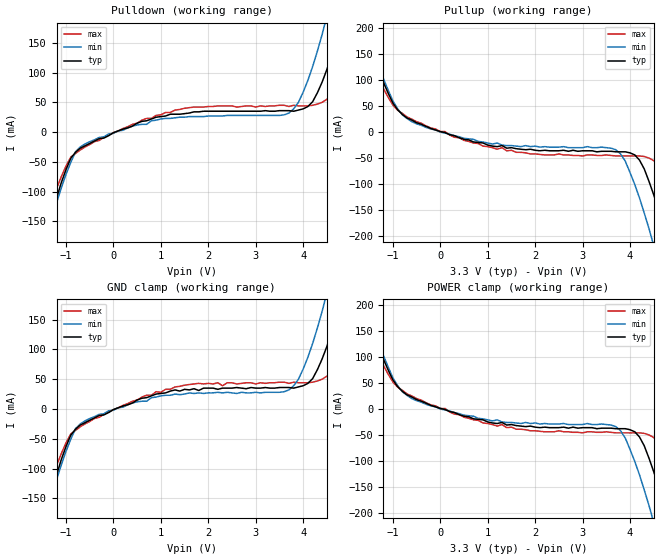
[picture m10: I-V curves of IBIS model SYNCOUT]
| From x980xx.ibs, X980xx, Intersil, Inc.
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|   SYNCOUT MODEL
[Model]   SYNCOUT
Model_type   Output
C_comp   3.219pF  3.093pF  3.349pF
|   typ   min   max
[Voltage Range]   3.3   3   3.6
[Temperature Range]  25   85   -40
[Ramp]
dV/dt_r   1.970/1.185n   1.980/0.967n   2.060/0.872n
dV/dt_f   1.970/1.668n   2.010/1.039n   2.070/1.162n
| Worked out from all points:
|   slope of the pulldown table from 0 to 0.495 V, typ, clamps not added: 31.4 ohm
|   slope of the pullup table from 0 to 0.495 V, typ, clamps not added: 33.3 ohm
[Pulldown]
|V   I(typ)   I(min)   I(max)
-3.3V     -1.331A    -1.306A    -1.227A
-1.5V     -204mA     -213mA     -176mA
-1.4V     -170mA     -179mA     -146mA
-800mV    -34mA      -33mA      -36mA
-100mV    -6mA       -3mA       -5mA
1.5V      31mA       25mA       40mA
3.7V      36mA       32mA       43mA
4.2V      51mA       110mA      45mA
4.5V      105mA      195mA      55mA
4.8V      189mA      306mA      95mA
5.2V      349mA      492mA      191mA
6.6V      1.338A     1.497A     855mA
[Pullup]
|V   I(typ)   I(min)   I(max)
-3.3V     1.183A     996mA      1.002A
-1.7V     243mA      244mA      207mA
-1.6V     208mA      212mA      177mA
-1V       56mA       60mA       52mA
-300mV    11mA       9mA        12mA
1.6V      -32mA      -27mA      -39mA
3.7V      -38mA      -34mA      -46mA
4.2V      -54mA      -127mA     -46mA
4.5V      -121mA     -219mA     -55mA
4.8V      -213mA     -330mA     -105mA
5.2V      -370mA     -508mA     -214mA
6.6V      -1.221A    -1.411A    -899mA
[GND_Clamp]
|V   I(typ)   I(min)   I(max)
-3.3V     -1.331A    -1.306A    -1.227A
-1.5V     -204mA     -213mA     -176mA
-1.4V     -170mA     -179mA     -146mA
-800mV    -34mA      -33mA      -36mA
-100mV    -6mA       -3mA       -5mA
1.5V      33mA       25mA       40mA
3.7V      36mA       32mA       43mA
4.2V      51mA       110mA      45mA
4.5V      105mA      195mA      55mA
4.8V      189mA      306mA      95mA
5.2V      349mA      492mA      191mA
6.6V      1.338A     1.497A     855mA
[Power_Clamp]
|V   I(typ)   I(min)   I(max)
-3.3V     1.183A     996mA      1.002A
-1.7V     243mA      244mA      207mA
-1.6V     208mA      212mA      177mA
-1V       56mA       60mA       52mA
-300mV    11mA       9mA        12mA
1.6V      -32mA      -27mA      -39mA
3.7V      -38mA      -34mA      -46mA
4.2V      -54mA      -127mA     -46mA
4.5V      -121mA     -219mA     -55mA
4.8V      -213mA     -330mA     -105mA
5.2V      -370mA     -508mA     -214mA
6.6V      -1.221A    -1.411A    -899mA
